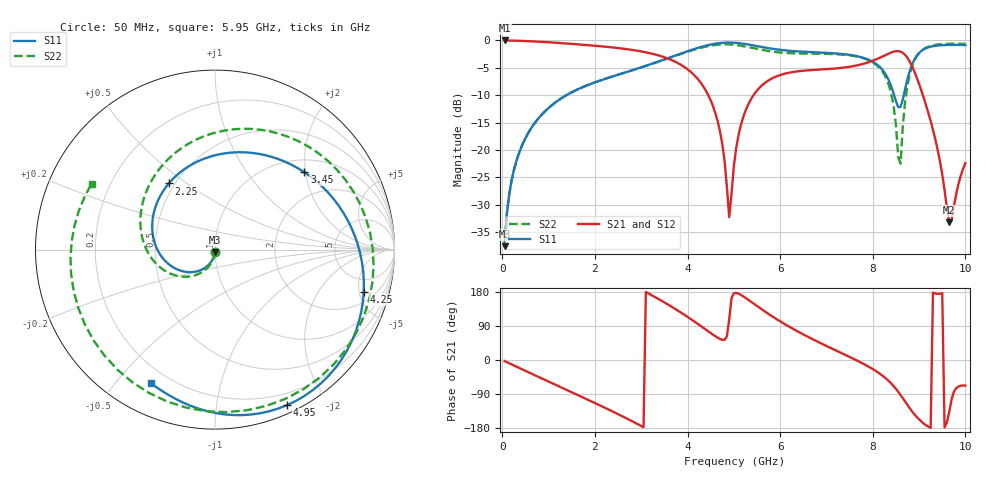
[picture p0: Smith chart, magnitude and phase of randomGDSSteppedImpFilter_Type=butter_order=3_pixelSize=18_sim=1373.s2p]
! freq	dB(S11)	phase(S11)	dB(S12)	phase(S12)
!  dB(S21)	phase(S21)	dB(S22)	phase(S22)
!S-par simulation data
#  GHz  S  DB  R 50
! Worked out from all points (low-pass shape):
!   200 points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, 50 MHz to 10 GHz, reference 50 ohm
!   highest |S21| = -0.01 dB at 50 MHz (marker M1); lowest = -33.2 dB at 9.65 GHz (marker M2)
!   |S21| within 3 dB of the highest: start of sweep to 3.475 GHz; 8.192 GHz to 8.732 GHz (540.8 MHz wide, 6.39 % of centre)
!   lowest |S11| = -37.6 dB at 50 MHz (marker M3), VSWR 1.03, Z = 49.9 - j1.32 ohm
!   |S11| at or under -10 dB: start of sweep to 1.386 GHz; 8.461 GHz to 8.669 GHz (208.1 MHz wide, 2.43 % of centre)
!   |S22| runs from -37.6 to -0.6 dB; largest |S21 - S12| = 0
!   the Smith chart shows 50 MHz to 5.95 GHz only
!   S11 on the Smith chart (normalised r, x): 50 MHz: 1.00, -0.03; 2.25 GHz: 0.46, +0.43; 3.45 GHz: 1.29, +1.97; 4.25 GHz: 3.06, -5.56; 4.95 GHz: 0.08, -1.56; 5.95 GHz: 0.13, -0.62
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0.05  -37.58 -92.9  -0.01 -2.9  -0.01 -2.9  -37.58 -92.4
0.2  -25.60 -102.7  -0.03 -11.5  -0.03 -11.5  -25.60 -100.5
0.5  -17.86 -122.0  -0.11 -28.7  -0.11 -28.7  -17.85 -116.3
1.75  -8.49 158.3  -0.80 -99.3  -0.80 -99.3  -8.48 -178.4
2.25  -6.94 124.9  -1.17 -128.1  -1.17 -128.1  -6.93 157.3
3.4  -3.78 44.5  -2.80 159.1  -2.80 159.1  -3.79 91.6
3.45  -3.63 40.9  -2.94 155.6  -2.94 155.6  -3.65 88.1
4.25  -1.30 -15.8  -7.35 92.9  -7.35 92.9  -1.43 17.2
4.7  -0.48 -48.1  -16.56 55.5  -16.56 55.5  -0.75 -37.3
4.9  -0.39 -61.9  -32.28 107.3  -32.28 107.3  -0.73 -64.8
4.95  -0.40 -65.3  -28.02 163.8  -28.02 163.8  -0.76 -71.8
5.05  -0.45 -71.8  -19.70 177.1  -19.70 177.1  -0.84 -86.1
5.5  -1.04 -96.9  -9.15 142.5  -9.15 142.5  -1.55 -150.0
5.95  -1.67 -115.7  -6.47 105.8  -6.47 105.8  -2.16 151.9
6.7  -2.14 -141.7  -5.40 54.9  -5.40 54.9  -2.42 74.7
7.55  -2.71 -172.5  -4.74 5.1  -4.74 5.1  -2.79 8.5
8.35  -7.36 152.9  -2.37 -56.1  -2.37 -56.1  -8.23 -56.1
8.6  -12.14 -170.4  -2.05 -92.2  -2.05 -92.2  -22.49 24.8
8.7  -8.82 -150.4  -2.65 -109.9  -2.65 -109.9  -11.04 47.7
8.9  -3.47 -159.8  -5.72 -143.5  -5.72 -143.5  -3.67 20.6
9.65  -0.82 146.2  -33.21 -138.0  -33.21 -138.0  -0.61 -43.1
10  -0.84 128.4  -22.41 -67.6  -22.41 -67.6  -0.62 -59.3
